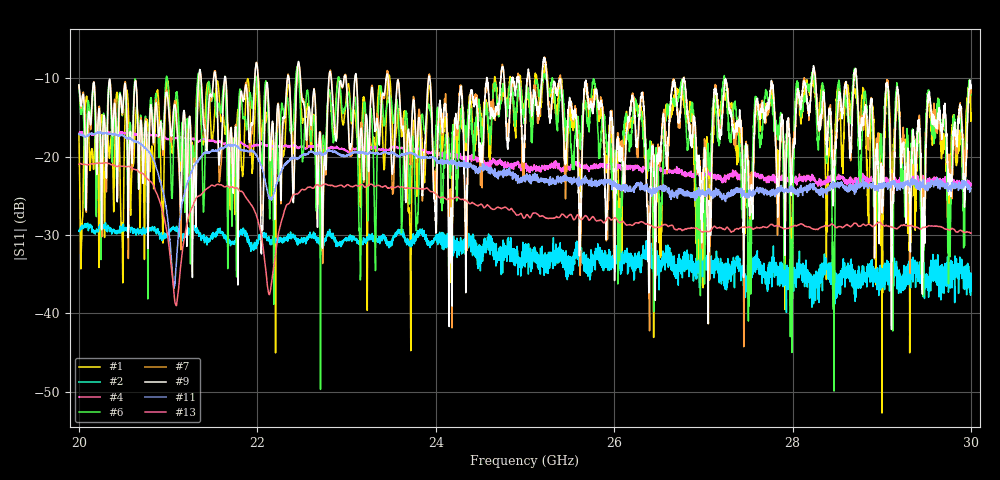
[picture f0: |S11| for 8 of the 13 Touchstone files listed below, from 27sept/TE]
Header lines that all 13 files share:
#  HZ  S  RI  R  50.00
! Rohde & Schwarz ZVA40 4Ports - Version 3.90 - 1145.1110k42 SN: 100403
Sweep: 20 GHz to 30 GHz
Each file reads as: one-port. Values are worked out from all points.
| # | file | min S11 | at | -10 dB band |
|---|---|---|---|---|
| 1 | free_0deg.s1p | -52.7 dB | 29 GHz | over 4.747 GHz wide |
| 2 | free_15deg.s1p | -39.9 dB | 27.93 GHz | over 10 GHz wide |
| 3 | screen_0deg.s1p | -52.6 dB | 21.59 GHz | 978.3 MHz wide |
| 4 | screen_15deg.s1p | -24.1 dB | 29.71 GHz | over 10 GHz wide |
| 5 | screen_30deg.s1p | -29.5 dB | 29.99 GHz | over 10 GHz wide |
| 6 | struct_0deg_10A.s1p | -49.9 dB | 28.46 GHz | 2.288 GHz wide |
| 7 | struct_0deg_inverse2V.s1p | -44.3 dB | 27.45 GHz | 1.375 GHz wide |
| 8 | struct_0deg_inverse5V.s1p | -48.1 dB | 26.4 GHz | over 1.345 GHz wide |
| 9 | struct_0deg_no_power.s1p | -42.1 dB | 29.11 GHz | 1.532 GHz wide |
| 10 | struct_15deg_9A.s1p | -34.6 dB | 24.57 GHz | over 10 GHz wide |
| 11 | struct_15deg_inverse5V.s1p | -36.8 dB | 21.06 GHz | over 10 GHz wide |
| 12 | struct_30deg_9A.s1p | -34.1 dB | 29.67 GHz | over 10 GHz wide |
| 13 | struct_30deg_inverse5V.s1p | -39.0 dB | 21.09 GHz | over 10 GHz wide |
